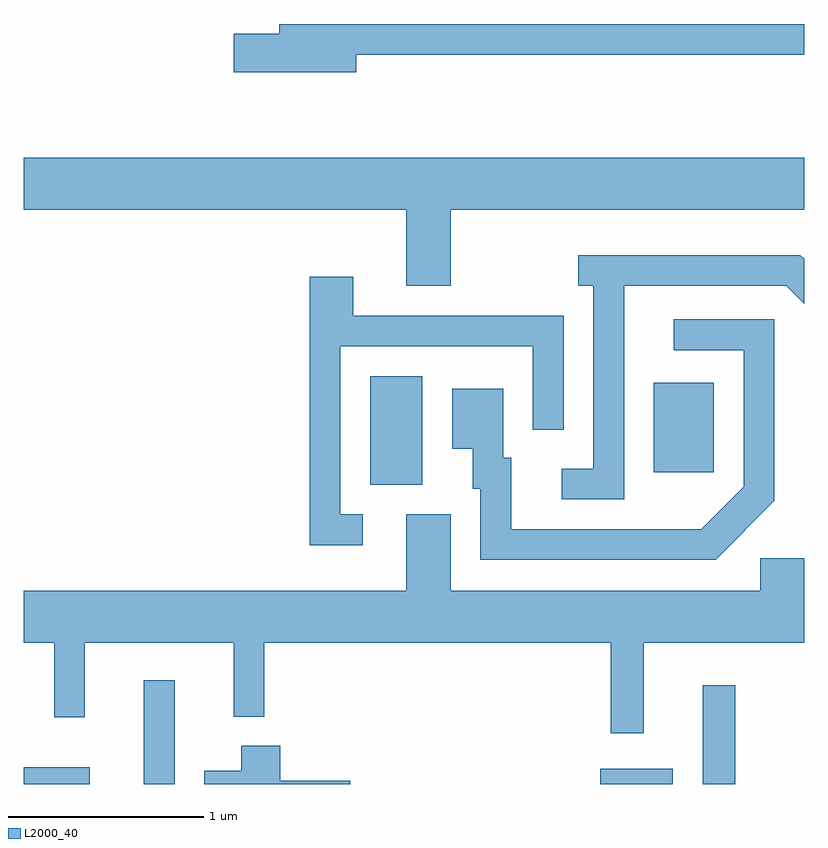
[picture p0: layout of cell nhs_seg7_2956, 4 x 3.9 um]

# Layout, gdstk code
import gdstk
lib = gdstk.Library(unit=1e-6, precision=1e-09)
def R(c, l, rs):  # rectangles x0, y0, x1, y1
    for r in rs: c.add(gdstk.rectangle(r[:2], r[2:], *l))
def P(c, l, *ps):  # polygons
    for p in ps: c.add(gdstk.Polygon(p, *l))
L2000_40 = (2000, 40)

nhs_seg7_2956 = lib.new_cell('nhs_seg7_2956')
R(nhs_seg7_2956, L2000_40, [(275.611,1720.252,275.949,1720.339), (276.226,1720.252,276.384,1720.783), (278.566,1720.252,278.939,1720.329), (279.091,1720.252,279.259,1720.758), (277.386,1721.786,277.654,1722.344), (278.841,1721.851,279.149,1722.309)])
P(nhs_seg7_2956, L2000_40, [(277.314,1723.991),(279.611,1723.991),(279.611,1724.149),(276.921,1724.149),(276.921,1724.099),(276.686,1724.099),(276.686,1723.901),(277.314,1723.901)],
  [(277.799,1723.196),(279.611,1723.196),(279.611,1723.464),(275.611,1723.464),(275.611,1723.196),(277.571,1723.196),(277.571,1722.806),(277.799,1722.806)],
  [(278.689,1722.806),(279.519,1722.806),(279.611,1722.714),(279.611,1722.945),(279.592,1722.964),(278.453,1722.964),(278.453,1722.806),(278.531,1722.806),(278.531,1721.869),(278.368,1721.869),(278.368,1721.711),(278.689,1721.711)],
  [(277.348,1721.634),(277.234,1721.634),(277.234,1722.496),(278.221,1722.496),(278.221,1722.068),(278.379,1722.068),(278.379,1722.654),(277.299,1722.654),(277.299,1722.854),(277.076,1722.854),(277.076,1721.476),(277.348,1721.476)],
  [(279.459,1721.704),(279.459,1722.634),(278.943,1722.634),(278.943,1722.476),(279.301,1722.476),(279.301,1721.777),(279.084,1721.559),(278.109,1721.559),(278.109,1721.924),(278.069,1721.924),(278.069,1722.279),(277.806,1722.279),(277.806,1721.971),(277.911,1721.971),(277.911,1721.766),(277.951,1721.766),(277.951,1721.401),(279.157,1721.401)],
  [(278.789,1720.976),(279.611,1720.976),(279.611,1721.409),(279.386,1721.409),(279.386,1721.244),(277.799,1721.244),(277.799,1721.634),(277.571,1721.634),(277.571,1721.244),(275.611,1721.244),(275.611,1720.976),(275.766,1720.976),(275.766,1720.593),(275.924,1720.593),(275.924,1720.976),(276.686,1720.976),(276.686,1720.598),(276.844,1720.598),(276.844,1720.976),(278.621,1720.976),(278.621,1720.513),(278.789,1720.513)],
  [(277.284,1720.269),(276.924,1720.269),(276.924,1720.449),(276.726,1720.449),(276.726,1720.319),(276.536,1720.319),(276.536,1720.252),(277.284,1720.252)])

lib.write_gds('nhs_seg7_2956.gds')
